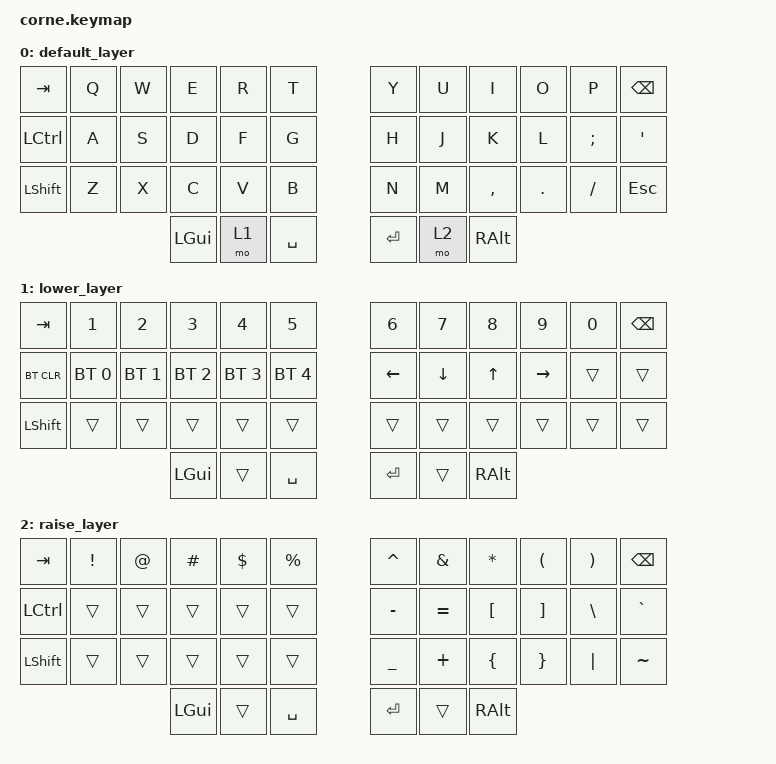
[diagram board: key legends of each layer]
/* 
Keyboard: Corne 6 column
Key positions:
  ╭────────────────────────┬────────────────────────╮ ╭─────────────────────────┬─────────────────────────╮
  │  0   1   2   3   4   5 │  6   7   8   9  10  11 │ │ LT5 LT4 LT3 LT2 LT1 LT0 │ RT0 RT1 RT2 RT3 RT4 RT5 │
  │ 12  13  14  15  16  17 │ 18  19  20  21  22  23 │ │ LM5 LM4 LM3 LM2 LM1 LM0 │ RM0 RM1 RM2 RM3 RM4 RM5 │
  │ 24  25  26  27  28  29 │ 30  31  32  33  34  35 │ │ LB5 LB4 LB3 LB2 LB1 LB0 │ RB0 RB1 RB2 RB3 RB4 RB5 │
  ╰───────────╮ 36  37  38 │ 39  40  41 ╭───────────╯ ╰───────────╮ LH2 LH1 LH0 │ RH0 RH1 RH2 ╭───────────╯
              ╰────────────┴────────────╯                         ╰─────────────┴─────────────╯             

*/

=======
/*
 * Copyright (c) 2020 The ZMK Contributors
 *
 * SPDX-License-Identifier: MIT
 */

#include <behaviors.dtsi>
#include <dt-bindings/zmk/keys.h>
#include <dt-bindings/zmk/bt.h>
<<<<<<< HEAD
#include <dt-bindings/zmk/ext_power.h>
#include "../zmk-nodefree-config/helper.h"
#include "../zmk-nodefree-config/keypos_def/keypos_42keys.h"
#include "../zmk-nodefree-config/international_chars/danish.dtsi"

#define ___ &trans

// Layer aliases
#define DEF 0
#define NUM 1
#define SYM 2
#define NN 3
#define QWE 4

&led_strip {
    chain-length = <27>;
};

ZMK_COMBO( z,      &kp Z,        1   2, DEF)
ZMK_COMBO( q,      &kp Q,         7  9, DEF)
ZMK_COMBO( mute,   &kp C_MUTE,  12  24, NN)
ZMK_COMBO(aa,      &dk_aa,       7  19, DEF)
ZMK_COMBO(ae,      &dk_ae,      19  20, DEF)
ZMK_COMBO(oe,      &dk_oe,      20  32, DEF)

ZMK_BEHAVIOR(ss_cw, tap_dance,
    tapping-term-ms = <200>;
    bindings = <&sk LSHFT>, <&caps_word>;
)

//like layer-tap, but toggle tap instead
ZMK_BEHAVIOR(tt, hold_tap,
    flavor = "balanced";
    tapping-term-ms = <280>;
    quick-tap-ms = <125>;
    bindings = <&tog>, <&kp>;
)

ZMK_LAYER(default,
//╭─────────────┬─────────────┬─────────────┬─────────────┬─────────────┬─────────────╮   ╭─────────────┬─────────────┬─────────────┬─────────────┬─────────────┬─────────────╮
    &kp TAB       &kp J         &kp G         &kp M         &kp P         &kp V             &kp MINUS     &kp U         &kp O         &kp Y         &kp K         &kp BSPC
//├─────────────┼─────────────┼─────────────┼─────────────┼─────────────┼─────────────┤   ├─────────────┼─────────────┼─────────────┼─────────────┼─────────────┼─────────────┤ 
    &ss_cw        &kp R         &kp S         &kp N         &kp D         &kp B             &kp COMMA     &kp A         &kp E         &kp I         &kp H         &ext_power EP_TOG
//├─────────────┼─────────────┼─────────────┼─────────────┼─────────────┼─────────────┤   ├─────────────┼─────────────┼─────────────┼─────────────┼─────────────┼─────────────┤ 
    &kp LCTRL     &kp X         &kp F         &kp L         &kp C         &kp W             &kp SEMI      &kp DOT       &kp SLASH     &kp DQT       &kp SQT       &tt QWE ESC
//╰─────────────┴─────────────┴─────────────┼─────────────┼─────────────┼─────────────┤   ├─────────────┼─────────────┼─────────────┼─────────────┴───────────────────────────╯
                                              &mt LALT Z    &lt SYM T     &mo NUM           &lt NUM RET   &lt SYM SPACE &tt NN LMETA 
//                                          ╰─────────────┴─────────────┴─────────────╯   ╰─────────────┴─────────────┴─────────────╯
)

ZMK_LAYER(numeric,
//╭─────────────┬─────────────┬─────────────┬─────────────┬─────────────┬─────────────╮   ╭─────────────┬─────────────┬─────────────┬─────────────┬─────────────┬─────────────╮
    &kp TAB       ___           ___           ___           ___           ___               &kp UNDER     ___           &kp PLUS      &kp MINUS     &kp EQUAL     &kp DEL
//├─────────────┼─────────────┼─────────────┼─────────────┼─────────────┼─────────────┤   ├─────────────┼─────────────┼─────────────┼─────────────┼─────────────┼─────────────┤ 
    &kp TILDE     &kp N1        &kp N2        &kp N3        &kp N4        &kp N5            &kp N6        &kp N7        &kp N8        &kp N9        &kp N0        ___
//├─────────────┼─────────────┼─────────────┼─────────────┼─────────────┼─────────────┤   ├─────────────┼─────────────┼─────────────┼─────────────┼─────────────┼─────────────┤ 
    ___           ___           ___           ___           ___           ___               ___           ___           ___           ___           ___           ___           
//╰─────────────┴─────────────┴─────────────┼─────────────┼─────────────┼─────────────┤   ├─────────────┼─────────────┼─────────────┼─────────────┴───────────────────────────╯
                                              ___           ___           ___               &kp RET       &kp SPACE     ___           
//                                          ╰─────────────┴─────────────┴─────────────╯   ╰─────────────┴─────────────┴─────────────╯
)

ZMK_LAYER(symbolic,
//╭─────────────┬─────────────┬─────────────┬─────────────┬─────────────┬─────────────╮   ╭─────────────┬─────────────┬─────────────┬─────────────┬─────────────┬─────────────╮
    &kp  TAB      &kp PIPE      &kp GRAVE     ___           ___           ___               &kp UNDER     ___           &kp LBKT      &kp RBKT      &kp BSLH      &kp BSPC
//├─────────────┼─────────────┼─────────────┼─────────────┼─────────────┼─────────────┤   ├─────────────┼─────────────┼─────────────┼─────────────┼─────────────┼─────────────┤ 
    &kp TILDE     &kp EXCL      &kp AT        &kp HASH      &kp DLLR      &kp PRCNT         &kp CARET     &kp AMPS      &kp LPAR      &kp RPAR      &kp LT        &kp GT
//├─────────────┼─────────────┼─────────────┼─────────────┼─────────────┼─────────────┤   ├─────────────┼─────────────┼─────────────┼─────────────┼─────────────┼─────────────┤ 
    ___           ___           ___           ___           ___           ___               &kp COLON     ___           &kp LBRC      &kp RBRC      &kp SLASH      &kp QMARK
//╰─────────────┴─────────────┴─────────────┼─────────────┼─────────────┼─────────────┤   ├─────────────┼─────────────┼─────────────┼─────────────┴───────────────────────────╯
                                              ___            ___          ___               &kp RET       &kp SPACE     ___
//                                          ╰─────────────┴─────────────┴─────────────╯   ╰─────────────┴─────────────┴─────────────╯
)

ZMK_LAYER(nav,
//╭─────────────┬─────────────┬─────────────┬─────────────┬─────────────┬─────────────╮   ╭─────────────┬─────────────┬─────────────┬─────────────┬─────────────┬─────────────╮
    &kp TAB       &kp LGUI      &kp HOME       &kp UP       &kp END      &kp PG_UP          &kp COMMA     &kp N7        &kp N8        &kp N9        &kp EQUAL     &kp BSPC
//├─────────────┼─────────────┼─────────────┼─────────────┼─────────────┼─────────────┤   ├─────────────┼─────────────┼─────────────┼─────────────┼─────────────┼─────────────┤ 
    &kp C_VOL_UP  &kp INS       &kp LEFT      &kp DOWN      &kp RIGHT     &kp PG_DN         &kp DOT       &kp N4        &kp N5        &kp N6        &kp PLUS      &kp MINUS 
//├─────────────┼─────────────┼─────────────┼─────────────┼─────────────┼─────────────┤   ├─────────────┼─────────────┼─────────────┼─────────────┼─────────────┼─────────────┤ 
    &kp C_VOL_DN  &kp LC(X)     &kp LC(INS)   &kp LS(INS)   &kp LC(Z)     &kp LC(Y)         &kp N0        &kp N1        &kp N2        &kp N3        &kp KP_MULTIPLY &kp SLASH
//╰─────────────┴─────────────┴─────────────┼─────────────┼─────────────┼─────────────┤   ├─────────────┼─────────────┼─────────────┼─────────────┴───────────────────────────╯
                                              &tog NN       &kp LCTRL     &kp C_PP          &kp RET       &kp SPACE     &tog NN
//                                          ╰─────────────┴─────────────┴─────────────╯   ╰─────────────┴─────────────┴─────────────╯
)

ZMK_LAYER(qwerty,     
//╭─────────────┬─────────────┬─────────────┬─────────────┬─────────────┬─────────────╮   ╭─────────────┬─────────────┬─────────────┬─────────────┬─────────────┬─────────────╮
    &kp TAB       &kp Q         &kp W         &kp E         &kp R         &kp T             &kp Y         &kp U         &kp I         &kp O         &kp P         &kp BSPC   
//├─────────────┼─────────────┼─────────────┼─────────────┼─────────────┼─────────────┤   ├─────────────┼─────────────┼─────────────┼─────────────┼─────────────┼─────────────┤ 
    &kp LSHFT     &kp A         &kp S         &kp D         &kp F         &kp G             &kp H         &kp J         &kp K         &kp L         &kp SEMI      &kp SQT
//├─────────────┼─────────────┼─────────────┼─────────────┼─────────────┼─────────────┤   ├─────────────┼─────────────┼─────────────┼─────────────┼─────────────┼─────────────┤ 
    &kp LCTRL     &kp Z         &kp X         &kp C         &kp V         &kp B             &kp N         &kp M         &kp COMMA     &kp DOT       &kp SLASH     &tt QWE ESC 
//╰─────────────┴─────────────┴─────────────┼─────────────┼─────────────┼─────────────┤   ├─────────────┼─────────────┼─────────────┼─────────────┴───────────────────────────╯
                                              &kp LALT      &kp SPACE     &kp C_PP          &kp RET       &kp SPACE     &kp LMETA
//                                          ╰─────────────┴─────────────┴─────────────╯   ╰─────────────┴─────────────┴─────────────╯
)
=======

/ {
        keymap {
                compatible = "zmk,keymap";

                default_layer {
// -----------------------------------------------------------------------------------------
// |  TAB |  Q  |  W  |  E  |  R  |  T  |   |  Y  |  U   |  I  |  O  |  P  | BSPC |
// | CTRL |  A  |  S  |  D  |  F  |  G  |   |  H  |  J   |  K  |  L  |  ;  |  '   |
// | SHFT |  Z  |  X  |  C  |  V  |  B  |   |  N  |  M   |  ,  |  .  |  /  | ESC  |
//                    | GUI | LWR | SPC |   | ENT | RSE  | ALT |
                        bindings = <
   &kp TAB   &kp Q &kp W &kp E &kp R &kp T   &kp Y &kp U  &kp I     &kp O   &kp P    &kp BSPC
   &kp LCTRL &kp A &kp S &kp D &kp F &kp G   &kp H &kp J  &kp K     &kp L   &kp SEMI &kp SQT
   &kp LSHFT &kp Z &kp X &kp C &kp V &kp B   &kp N &kp M  &kp COMMA &kp DOT &kp FSLH &kp ESC
                  &kp LGUI &mo 1 &kp SPACE   &kp RET &mo 2 &kp RALT
                        >;
                };
                lower_layer {
// -----------------------------------------------------------------------------------------
// |  TAB |  1  |  2  |  3  |  4  |  5  |   |  6  |  7  |  8  |  9  |  0  | BSPC |
// | BTCLR| BT1 | BT2 | BT3 | BT4 | BT5 |   | LFT | DWN |  UP | RGT |     |      |
// | SHFT |     |     |     |     |     |   |     |     |     |     |     |      |
//                    | GUI |     | SPC |   | ENT |     | ALT |
                        bindings = <
   &kp TAB    &kp N1       &kp N2       &kp N3       &kp N4       &kp N5         &kp N6   &kp N7   &kp N8 &kp N9    &kp N0 &kp BSPC
   &bt BT_CLR &bt BT_SEL 0 &bt BT_SEL 1 &bt BT_SEL 2 &bt BT_SEL 3 &bt BT_SEL 4   &kp LEFT &kp DOWN &kp UP &kp RIGHT &trans &trans
   &kp LSHFT  &trans       &trans       &trans       &trans       &trans         &trans   &trans   &trans &trans    &trans &trans
                                    &kp LGUI     &trans       &kp SPACE      &kp RET  &trans   &kp RALT
                        >;
                };

                raise_layer {
// -----------------------------------------------------------------------------------------
// |  TAB |  !  |  @  |  #  |  $  |  %  |   |  ^  |  &  |  *  |  (  |  )  | BSPC |
// | CTRL |     |     |     |     |     |   |  -  |  =  |  [  |  ]  |  \  |  `   |
// | SHFT |     |     |     |     |     |   |  _  |  +  |  {  |  }  | "|" |  ~   |
//                    | GUI |     | SPC |   | ENT |     | ALT |
                        bindings = <
   &kp  TAB  &kp EXCL &kp AT &kp HASH &kp DLLR &kp PRCNT   &kp CARET &kp AMPS  &kp ASTRK &kp LPAR &kp RPAR &kp BSPC
   &kp LCTRL &trans   &trans &trans   &trans   &trans      &kp MINUS &kp EQUAL &kp LBKT  &kp RBKT &kp BSLH &kp GRAVE
   &kp LSHFT &trans   &trans &trans   &trans   &trans      &kp UNDER &kp PLUS  &kp LBRC  &kp RBRC &kp PIPE &kp TILDE
                             &kp LGUI &trans   &kp SPACE   &kp RET   &trans    &kp RALT
                        >;
                };
        };
};
